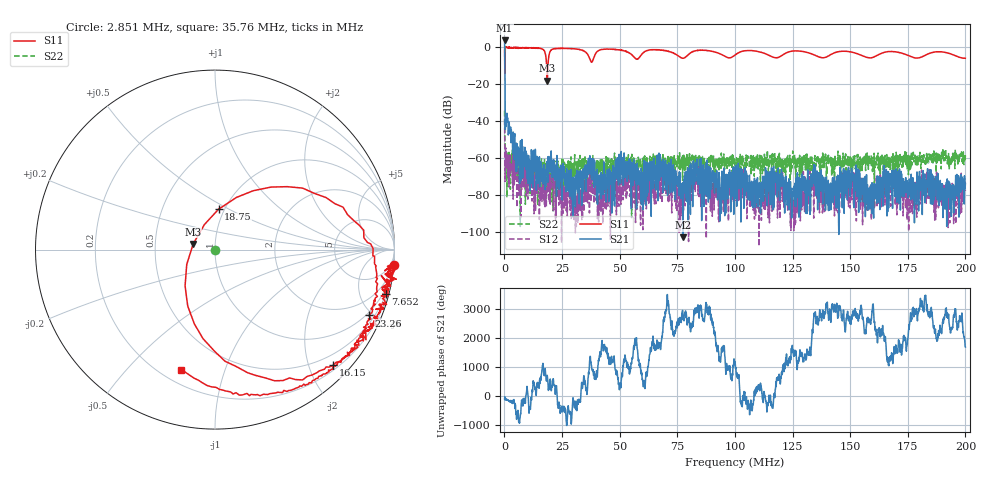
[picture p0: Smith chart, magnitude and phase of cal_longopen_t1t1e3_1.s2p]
! 26-Feb-26 1:42:37 PM
! E:\VNA_MEASUREMENTS\CAL_S11\CAL_LONGOPEN_T1T1E3_1.S2P
! CHANNEL.1
! TR.MEASUREMENT
! CORRECTED.DATA
# GHZ S RI R 50.0
! FREQ.GHZ  S11RE  S11IM  S21RE  S21IM  S12RE  S12IM  S22RE  S22IM
!; PortSelection: Port_12
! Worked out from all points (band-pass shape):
!   2000 points, 50 kHz to 200 MHz, reference 50 ohm
!   highest |S21| = 3.81 dB at 50 kHz (marker M1); lowest = -102.9 dB at 77.37 MHz (marker M2)
!   |S21| within 3 dB of the highest: start of sweep to 71.55 kHz
!   lowest |S11| = -18.0 dB at 18.55 MHz (marker M3), VSWR 1.29, Z = 39.1 + j2.44 ohm
!   |S11| at or under -10 dB: 117.7 kHz to 234.7 kHz (117.1 kHz wide, 66.4 % of centre); 18.29 MHz to 18.86 MHz (568.5 kHz wide, 3.06 % of centre)
!   |S22| runs from -97.1 to -34.3 dB; largest |S21 - S12| = 1.6
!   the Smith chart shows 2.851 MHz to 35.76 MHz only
!   S11 on the Smith chart (normalised r, x): 2.851 MHz: -1, -23; 7.652 MHz: 0.49, -7.84; 16.15 MHz: 0.28, -2.43; 18.75 MHz: 0.94, +0.44; 23.26 MHz: 0.83, -4.75; 35.76 MHz: 0.28, -0.72
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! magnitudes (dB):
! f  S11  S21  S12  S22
! 50 kHz  -1.6  3.8  -39.1  -34.3
! 1.35 MHz  -0.1  -38.1  -69.5  -62.9
! 2.851 MHz  0.0  -51.7  -63.1  -64.1
! 7.652 MHz  -0.1  -58.4  -66.0  -71.2
! 16.15 MHz  -0.7  -72.6  -76.4  -63.5
! 18.55 MHz  -18.0  -66.0  -73.8  -66.9
! 18.75 MHz  -12.9  -73.1  -69.2  -72.4
! 23.26 MHz  -0.6  -67.8  -75.4  -64.8
! 33.46 MHz  -1.4  -67.9  -87.3  -60.9
! 35.76 MHz  -3.2  -66.9  -80.6  -62.4
! 41.36 MHz  -1.4  -78.4  -85.2  -66.1
! 50.26 MHz  -1.4  -63.7  -79.2  -58.5
! 59.96 MHz  -3.1  -67.7  -73.6  -60.3
! 66.77 MHz  -1.3  -63.8  -77.0  -61.0
! 77.37 MHz  -5.8  -102.9  -79.9  -58.7
! 82.87 MHz  -1.8  -72.5  -72.7  -63.2
! 94.47 MHz  -4.0  -80.7  -80.6  -64.2
! 100.1 MHz  -4.1  -69.1  -78.4  -65.6
! 125.5 MHz  -1.9  -76.8  -86.4  -59.7
! 133.4 MHz  -3.5  -70.6  -74.2  -67.5
! 166.7 MHz  -2.2  -87.1  -77.8  -65.0
! 200 MHz  -5.8  -73.8  -77.8  -58.6
